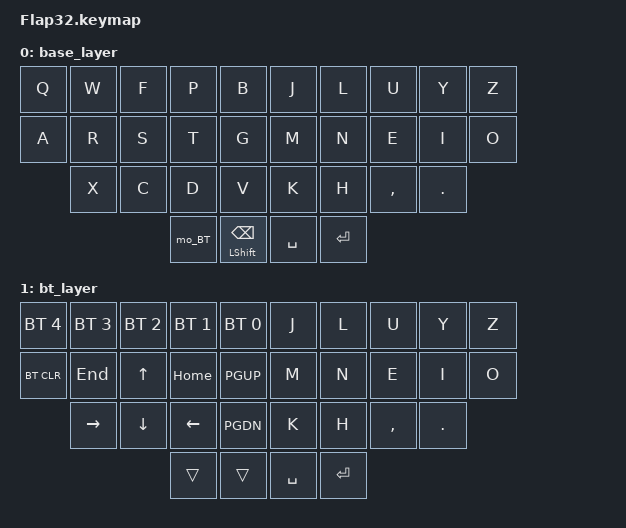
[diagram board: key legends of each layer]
/*
 * Copyright (c) 2021 The ZMK Contributors
 *
 * SPDX-License-Identifier: MIT
 */

#include <behaviors.dtsi>
#include <dt-bindings/zmk/keys.h>
#include <dt-bindings/zmk/bt.h>
#include <dt-bindings/zmk/rgb.h>

/ {
    macros {
        mo_BT: mo_BT {
            label = "ZM_mo_BT";
            compatible = "zmk,behavior-macro";
            #binding-cells = <0>;
            wait-ms = <0>;
            tap-ms = <0>;
            bindings
                = <&macro_tap &rgb_ug RGB_COLOR_HSB(80,100,3)>
                , <&macro_press &mo 1>
                , <&macro_pause_for_release>
                , <&macro_tap &rgb_ug RGB_COLOR_HSB(15,95,2)>
                , <&macro_release &mo 1>
                ;
        };
    }

    combos {
        compatible = "zmk,combos";
        combo_BOOT {
            timeout-ms = <60>;
            key-positions = <28 29>;
            bindings = <&bootloader>;
        };
    }

    keymap {
        compatible = "zmk,keymap";

        // This is a sample keymap intended to be replaced with your own
        base_layer {
            bindings = <
                &kp Q   &kp W   &kp F   &kp P   &kp B          &kp J     &kp L     &kp U     &kp Y     &kp Z
                &kp A   &kp R   &kp S   &kp T   &kp G          &kp M     &kp N     &kp E     &kp I     &kp O
                        &kp X   &kp C   &kp D   &kp V          &kp K     &kp H     &kp COMMA &kp DOT
                                        &mo_BT  &mt LSHFT BSPC &kp SPACE &kp ENTER
            >;
        };

        bt_layer {
            bindings = <
                &bt BT_SEL 4 &bt BT_SEL 3 &bt BT_SEL 2 &bt BT_SEL 1 &bt BT_SEL 0   &kp J     &kp L     &kp U     &kp Y     &kp Z
                &bt BT_CLR   &kp END      &kp UP       &kp HOME     &kp PGUP       &kp M     &kp N     &kp E     &kp I     &kp O
                             &kp RIGHT    &kp DOWN     &kp LEFT     &kp PGDN       &kp K     &kp H     &kp COMMA &kp DOT
                                                       &trans       &trans         &kp SPACE &kp ENTER
            >;
        };
    };
};
